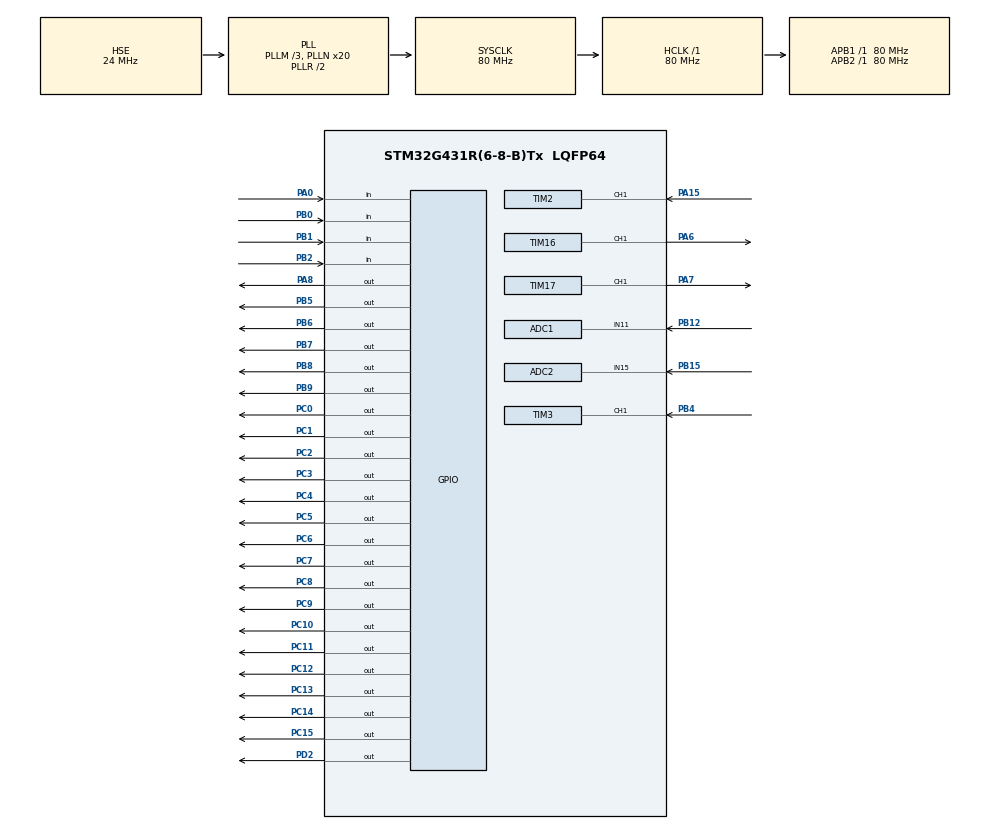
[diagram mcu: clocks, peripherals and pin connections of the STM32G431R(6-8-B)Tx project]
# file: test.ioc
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ADC1.Channel-0\#ChannelRegularConversion=ADC_CHANNEL_11
ADC1.NbrOfConversionFlag=1
ADC1.OffsetNumber-0\#ChannelRegularConversion=ADC_OFFSET_NONE
ADC1.Rank-0\#ChannelRegularConversion=1
ADC1.SamplingTime-0\#ChannelRegularConversion=ADC_SAMPLETIME_2CYCLES_5
ADC1.master=1
ADC2.Channel-0\#ChannelRegularConversion=ADC_CHANNEL_15
ADC2.NbrOfConversionFlag=1
ADC2.OffsetNumber-0\#ChannelRegularConversion=ADC_OFFSET_NONE
ADC2.Rank-0\#ChannelRegularConversion=1
ADC2.SamplingTime-0\#ChannelRegularConversion=ADC_SAMPLETIME_2CYCLES_5
Mcu.Family=STM32G4
Mcu.Name=STM32G431R(6-8-B)Tx
Mcu.Package=LQFP64
NVIC.PriorityGroup=NVIC_PRIORITYGROUP_4
NVIC.TIM2_IRQn=true\:0\:0\:false\:false\:true\:true\:true
NVIC.TIM3_IRQn=true\:0\:0\:false\:false\:true\:true\:true
NVIC.TIM4_IRQn=true\:0\:0\:false\:false\:true\:true\:true
PA0.GPIO_PuPd=GPIO_PULLUP
PA0.Signal=GPIO_Input
PA13.Mode=Serial_Wire
PA13.Signal=SYS_JTMS-SWDIO
PA14.Mode=Serial_Wire
PA14.Signal=SYS_JTCK-SWCLK
PA15.Signal=S_TIM2_CH1
PA6.Signal=S_TIM16_CH1
PA7.Signal=S_TIM17_CH1
PA8.Signal=GPIO_Output
PB0.GPIO_PuPd=GPIO_PULLUP
PB0.Signal=GPIO_Input
PB1.GPIO_PuPd=GPIO_PULLUP
PB1.Signal=GPIO_Input
PB12.Mode=IN11-Single-Ended
PB12.Signal=ADC1_IN11
PB15.Mode=IN15-Single-Ended
PB15.Signal=ADC2_IN15
PB2.GPIO_PuPd=GPIO_PULLUP
PB2.Signal=GPIO_Input
PB4.Signal=S_TIM3_CH1
PB5.Signal=GPIO_Output
PB6.Signal=GPIO_Output
PB7.Signal=GPIO_Output
PB8-BOOT0.Signal=GPIO_Output
PB9.Signal=GPIO_Output
PC0.Signal=GPIO_Output
PC1.Signal=GPIO_Output
PC10.PinState=GPIO_PIN_SET
PC10.Signal=GPIO_Output
PC11.PinState=GPIO_PIN_SET
PC11.Signal=GPIO_Output
PC12.PinState=GPIO_PIN_SET
PC12.Signal=GPIO_Output
PC13.Signal=GPIO_Output
PC14-OSC32_IN.Signal=GPIO_Output
PC15-OSC32_OUT.Signal=GPIO_Output
PC2.Signal=GPIO_Output
PC3.Signal=GPIO_Output
PC4.Signal=GPIO_Output
PC5.Signal=GPIO_Output
PC6.Signal=GPIO_Output
PC7.Signal=GPIO_Output
PC8.PinState=GPIO_PIN_SET
PC8.Signal=GPIO_Output
PC9.PinState=GPIO_PIN_SET
PC9.Signal=GPIO_Output
PD2.Signal=GPIO_Output
PF0-OSC_IN.Mode=HSE-External-Oscillator
PF0-OSC_IN.Signal=RCC_OSC_IN
PF1-OSC_OUT.Mode=HSE-External-Oscillator
PF1-OSC_OUT.Signal=RCC_OSC_OUT
ProjectManager.HeapSize=0x200
ProjectManager.StackSize=0x400
ProjectManager.TargetToolchain=MDK-ARM V5.32
RCC.ADC12Freq_Value=80000000
RCC.AHBFreq_Value=80000000
RCC.APB1Freq_Value=80000000
RCC.APB1TimFreq_Value=80000000
RCC.APB2Freq_Value=80000000
RCC.APB2TimFreq_Value=80000000
RCC.CortexFreq_Value=80000000
RCC.EXTERNAL_CLOCK_VALUE=12288000
RCC.HCLKFreq_Value=80000000
RCC.HSE_VALUE=24000000
RCC.HSI48_VALUE=48000000
RCC.HSI_VALUE=16000000
RCC.LSE_VALUE=32768
RCC.PLLM=RCC_PLLM_DIV3
RCC.PLLN=20
RCC.PLLSourceVirtual=RCC_PLLSOURCE_HSE
RCC.SYSCLKFreq_VALUE=80000000
RCC.SYSCLKSource=RCC_SYSCLKSOURCE_PLLCLK
RCC.USBFreq_Value=80000000
RCC.VCOOutputFreq_Value=160000000
SH.S_TIM16_CH1.0=TIM16_CH1,PWM Generation1 CH1
SH.S_TIM17_CH1.0=TIM17_CH1,PWM Generation1 CH1
SH.S_TIM2_CH1.0=TIM2_CH1,Input_Capture1_from_TI1
SH.S_TIM3_CH1.0=TIM3_CH1,Input_Capture1_from_TI1
TIM16.Channel=TIM_CHANNEL_1
TIM16.PeriodNoDither=100-1
TIM16.Prescaler=8000-1
TIM16.PulseNoDither_1=20
TIM17.Channel=TIM_CHANNEL_1
TIM17.PeriodNoDither=100-1
TIM17.Prescaler=4000-1
TIM17.PulseNoDither_1=20
TIM2.Channel-Input_Capture1_from_TI1=TIM_CHANNEL_1
TIM2.Channel-Input_Capture2_from_TI1_63=TIM_CHANNEL_2
TIM2.ICPolarity_CH1=TIM_INPUTCHANNELPOLARITY_RISING
TIM2.ICPolarity_CH2=TIM_INPUTCHANNELPOLARITY_FALLING
TIM2.Prescaler=80-1
TIM3.Channel-Input_Capture1_from_TI1=TIM_CHANNEL_1
TIM3.Channel-Input_Capture2_from_TI1_63=TIM_CHANNEL_2
TIM3.ICPolarity_CH2=TIM_INPUTCHANNELPOLARITY_FALLING
TIM3.PeriodNoDither=65535
TIM3.Prescaler=80-1
TIM4.PeriodNoDither=10000-1
TIM4.Prescaler=80-1
VP_SYS_VS_DBSignals.Mode=DisableDeadBatterySignals
VP_TIM16_VS_ClockSourceINT.Mode=Enable_Timer
VP_TIM17_VS_ClockSourceINT.Mode=Enable_Timer
VP_TIM1_VS_ClockSourceINT.Mode=Internal
VP_TIM2_VS_ClockSourceINT.Mode=Internal
VP_TIM2_VS_indirect_ch1.Mode=Input_Capture2_from_TI1_63
VP_TIM3_VS_ClockSourceINT.Mode=Internal
VP_TIM3_VS_indirect_ch1.Mode=Input_Capture2_from_TI1_63
VP_TIM4_VS_ClockSourceINT.Mode=Internal
board=custom

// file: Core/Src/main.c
/* USER CODE BEGIN Header */
/**
  ******************************************************************************
  * @file           : main.c
  * @brief          : Main program body
  ******************************************************************************
  * @attention
  *
  * <h2><center>&copy; Copyright (c) 2022 STMicroelectronics.
  * All rights reserved.</center></h2>
  *
  * This software component is licensed by ST under BSD 3-Clause license,
  * the "License"; You may not use this file except in compliance with the
  * License. You may obtain a copy of the License at:
  *                        opensource.org/licenses/BSD-3-Clause
  *
  ******************************************************************************
  */
/* USER CODE END Header */
#include "main.h"
#include "adc.h"
#include "tim.h"
#include "gpio.h"

/* USER CODE BEGIN Includes */
#include "led.h"
#include "lcd.h"
#include "stdio.h"
#include "interrupt.h"
#include "badc.h"
#include "i2c - hal.h"
/* USER CODE END Includes */

/* USER CODE BEGIN PTD */
extern struct keys key[];
extern uint frq1,frq2;
extern float duty1,duty2;
uchar view=0;

uchar pa6_duty=10;
uchar pa7_duty=10;
void key_proc(void);
void disp_proc(void);

/* USER CODE END PTD */

void SystemClock_Config(void);

int main(void)
{

  /* MCU Configuration--------------------------------------------------------*/

  /* Reset of all peripherals, Initializes the Flash interface and the Systick. */
  HAL_Init();

  /* Configure the system clock */
  SystemClock_Config();

  /* Initialize all configured peripherals */
  MX_GPIO_Init();
  MX_TIM1_Init();
  MX_TIM3_Init();
  MX_TIM16_Init();
  MX_TIM17_Init();
  MX_TIM2_Init();
  MX_TIM4_Init();
  MX_ADC1_Init();
  MX_ADC2_Init();
  /* USER CODE BEGIN 2 */
	LED_Disp(0x00);//LED的初始化
	LCD_Init();//LCD屏的初始化

	LCD_Clear(Black);
	LCD_SetBackColor(Black);
	LCD_SetTextColor(White);

	HAL_TIM_Base_Start_IT(&htim4);

	HAL_TIM_PWM_Start(&htim16,TIM_CHANNEL_1);//pwm输出开启
	HAL_TIM_PWM_Start(&htim17,TIM_CHANNEL_1);
	HAL_TIM_IC_Start_IT(&htim2,TIM_CHANNEL_1);//频率测量捕获定时器开启
	HAL_TIM_IC_Start_IT(&htim3,TIM_CHANNEL_1);
  HAL_TIM_IC_Start_IT(&htim2,TIM_CHANNEL_2);//频率测量捕获定时器开启 间接通道
	HAL_TIM_IC_Start_IT(&htim3,TIM_CHANNEL_2);

	__HAL_TIM_SetCompare(&htim16,TIM_CHANNEL_1,pa6_duty);//设置初始pwm频率
	__HAL_TIM_SetCompare(&htim17,TIM_CHANNEL_1,pa7_duty);
  /* USER CODE END 2 */

  /* Infinite loop */
  while (1)
  {

    /* USER CODE BEGIN 3 */
//		LED_Disp(0x01);
//		HAL_Delay(500);
//		LED_Disp(0x00);
//		HAL_Delay(500);

		key_proc();
		disp_proc();
  }
  /* USER CODE END 3 */
}

void SystemClock_Config(void)
{
  RCC_OscInitTypeDef RCC_OscInitStruct = {0};
  RCC_ClkInitTypeDef RCC_ClkInitStruct = {0};
  RCC_PeriphCLKInitTypeDef PeriphClkInit = {0};

  /** Configure the main internal regulator output voltage
  */
  HAL_PWREx_ControlVoltageScaling(PWR_REGULATOR_VOLTAGE_SCALE1);
  /** Initializes the RCC Oscillators according to the specified parameters
  * in the RCC_OscInitTypeDef structure.
  */
  RCC_OscInitStruct.OscillatorType = RCC_OSCILLATORTYPE_HSE;
  RCC_OscInitStruct.HSEState = RCC_HSE_ON;
  RCC_OscInitStruct.PLL.PLLState = RCC_PLL_ON;
  RCC_OscInitStruct.PLL.PLLSource = RCC_PLLSOURCE_HSE;
  RCC_OscInitStruct.PLL.PLLM = RCC_PLLM_DIV3;
  RCC_OscInitStruct.PLL.PLLN = 20;
  RCC_OscInitStruct.PLL.PLLP = RCC_PLLP_DIV2;
  RCC_OscInitStruct.PLL.PLLQ = RCC_PLLQ_DIV2;
  RCC_OscInitStruct.PLL.PLLR = RCC_PLLR_DIV2;
  if (HAL_RCC_OscConfig(&RCC_OscInitStruct) != HAL_OK)
  {
    Error_Handler();
  }
  /** Initializes the CPU, AHB and APB buses clocks
  */
  RCC_ClkInitStruct.ClockType = RCC_CLOCKTYPE_HCLK|RCC_CLOCKTYPE_SYSCLK
                              |RCC_CLOCKTYPE_PCLK1|RCC_CLOCKTYPE_PCLK2;
  RCC_ClkInitStruct.SYSCLKSource = RCC_SYSCLKSOURCE_PLLCLK;
  RCC_ClkInitStruct.AHBCLKDivider = RCC_SYSCLK_DIV1;
  RCC_ClkInitStruct.APB1CLKDivider = RCC_HCLK_DIV1;
  RCC_ClkInitStruct.APB2CLKDivider = RCC_HCLK_DIV1;

  if (HAL_RCC_ClockConfig(&RCC_ClkInitStruct, FLASH_LATENCY_2) != HAL_OK)
  {
    Error_Handler();
  }
  /** Initializes the peripherals clocks
  */
  PeriphClkInit.PeriphClockSelection = RCC_PERIPHCLK_ADC12;
  PeriphClkInit.Adc12ClockSelection = RCC_ADC12CLKSOURCE_SYSCLK;
  if (HAL_RCCEx_PeriphCLKConfig(&PeriphClkInit) != HAL_OK)
  {
    Error_Handler();
  }
}

/* USER CODE BEGIN 4 */
void key_proc(void)
{
		if(key[0].single_flag==1)
		{
			view=!view;
			key[0].single_flag=0;
		}

		if(key[1].single_flag==1)
		{
			pa6_duty+=10;
			if(pa6_duty>=100) pa6_duty=10;
			__HAL_TIM_SetCompare(&htim16,TIM_CHANNEL_1,pa6_duty);
			key[1].single_flag=0;
		}
		if(key[2].single_flag==1)
		{
			pa7_duty+=10;
			if(pa7_duty>=100) pa7_duty=10;
			__HAL_TIM_SetCompare(&htim17,TIM_CHANNEL_1,pa7_duty);
			key[2].single_flag=0;
		}

		if(key[3].single_flag==1)
		{
			uchar frq_h=frq1>>8;
			uchar frq_l=frq1&0xff;
			eeprom_write(1,frq_h);
			HAL_Delay(10);
			eeprom_write(2,frq_l);
			key[3].single_flag=0;
		}
}

void disp_proc(void)
{
	if(view==0)
	{
		char text[30];
		sprintf(text,"      Data      ");
		LCD_DisplayStringLine(Line1, (uint8_t *)text);
		sprintf(text,"     FRQ1=%d      ",frq1);
		LCD_DisplayStringLine(Line2, (uint8_t *)text);
		sprintf(text,"     duty1=%.3f      ",duty1);
		LCD_DisplayStringLine(Line3, (uint8_t *)text);
		sprintf(text,"     FRQ2=%d      ",frq2);
		LCD_DisplayStringLine(Line4, (uint8_t *)text);
		sprintf(text,"     duty2=%.3f      ",duty2);
		LCD_DisplayStringLine(Line5, (uint8_t *)text);

		sprintf(text,"     V1:=%.2f      ",getADC(&hadc1));
		LCD_DisplayStringLine(Line6, (uint8_t *)text);
		sprintf(text,"     V2:=%.2f      ",getADC(&hadc2));
		LCD_DisplayStringLine(Line7, (uint8_t *)text);

		uint eep_temp=(eeprom_read(1)<<8)+eeprom_read(2);
		sprintf(text,"     FRQ_eep=%d      ",eep_temp);
		LCD_DisplayStringLine(Line8, (uint8_t *)text);
	}
	if(view==1)
	{
		char text[30];
		sprintf(text,"      Para      ");
		LCD_DisplayStringLine(Line1, (uint8_t *)text);
		sprintf(text,"    PA6:%d      ",pa6_duty);
		LCD_DisplayStringLine(Line2, (uint8_t *)text);
		sprintf(text,"    PA7:%d      ",pa7_duty);
		LCD_DisplayStringLine(Line4, (uint8_t *)text);

		//清理界面残留
		sprintf(text,"                        ");
		LCD_DisplayStringLine(Line3, (uint8_t *)text);
		LCD_DisplayStringLine(Line5, (uint8_t *)text);
	}
}
/* USER CODE END 4 */

void Error_Handler(void)
{
  __disable_irq();
  while (1)
  {
  }
}

/************************ (C) COPYRIGHT STMicroelectronics *****END OF FILE****/
